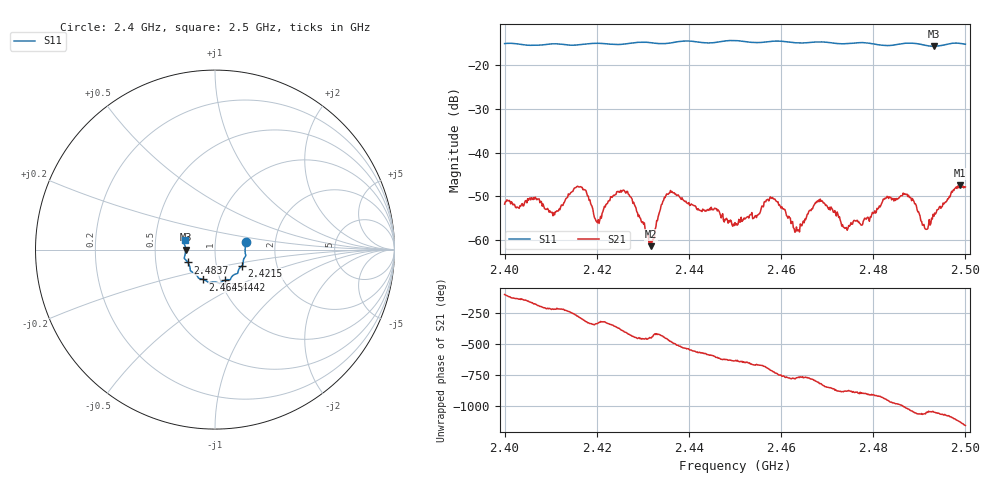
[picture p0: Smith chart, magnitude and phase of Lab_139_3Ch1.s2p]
# Hz S RI R 50
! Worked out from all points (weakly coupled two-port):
!   601 points, 2.4 GHz to 2.5 GHz, reference 50 ohm
!   highest |S21| = -47.47 dB at 2.4988 GHz (marker M1); lowest = -61.3 dB at 2.4318 GHz (marker M2)
!   lowest |S11| = -15.7 dB at 2.4932 GHz (marker M3), VSWR 1.39, Z = 35.9 - j0.0545 ohm
!   |S11| at or under -10 dB: start of sweep to end of sweep
!   S12 and S22 are empty: the file has one direction only
!   S11 on the Smith chart (normalised r, x): 2.4 GHz: 1.41, +0.12; 2.4215 GHz: 1.33, -0.25; 2.4442 GHz: 1.05, -0.37; 2.4645 GHz: 0.83, -0.29; 2.4837 GHz: 0.73, -0.11; 2.5 GHz: 0.71, +0.07
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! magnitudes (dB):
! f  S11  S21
! 2.4 GHz  -15.1  -51.7
! 2.4107 GHz  -15.2  -53.7
! 2.4167 GHz  -15.3  -47.9
! 2.42 GHz  -15.0  -55.8
! 2.4215 GHz  -15.1  -52.8
! 2.4263 GHz  -15.2  -49.2
! 2.4318 GHz  -14.9  -61.3
! 2.4333 GHz  -15.1  -54.6
! 2.4362 GHz  -14.9  -49.0
! 2.4442 GHz  -15.0  -53.0
! 2.45 GHz  -14.4  -56.0
! 2.458 GHz  -14.6  -50.4
! 2.4645 GHz  -15.0  -56.7
! 2.4667 GHz  -14.8  -52.8
! 2.474 GHz  -15.1  -57.2
! 2.4833 GHz  -15.5  -50.4
! 2.4837 GHz  -15.5  -50.1
! 2.4877 GHz  -15.0  -49.7
! 2.4913 GHz  -15.5  -57.4
! 2.4932 GHz  -15.7  -54.5
! 2.4988 GHz  -15.1  -47.5
! 2.5 GHz  -15.2  -47.8
